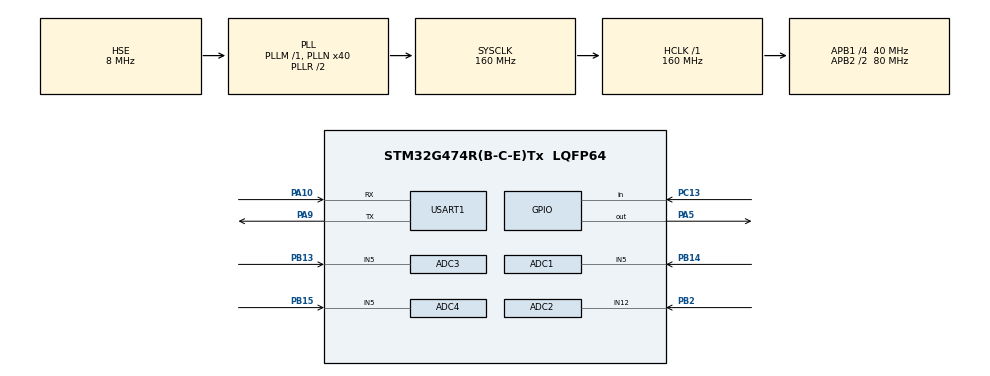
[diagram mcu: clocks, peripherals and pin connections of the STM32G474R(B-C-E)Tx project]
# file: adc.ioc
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ADC1.Channel-1\#ChannelRegularConversion=ADC_CHANNEL_5
ADC1.ClockPrescaler=ADC_CLOCK_ASYNC_DIV4
ADC1.ContinuousConvMode=DISABLE
ADC1.DMAContinuousRequests=ENABLE
ADC1.EOCSelection=ADC_EOC_SINGLE_CONV
ADC1.ExternalTrigConv=ADC_EXTERNALTRIG_T20_TRGO
ADC1.NbrOfConversionFlag=1
ADC1.OffsetNumber-1\#ChannelRegularConversion=ADC_OFFSET_NONE
ADC1.Rank-1\#ChannelRegularConversion=1
ADC1.SamplingTime-1\#ChannelRegularConversion=ADC_SAMPLETIME_2CYCLES_5
ADC1.master=1
ADC2.Channel-1\#ChannelRegularConversion=ADC_CHANNEL_12
ADC2.ClockPrescaler=ADC_CLOCK_ASYNC_DIV4
ADC2.DMAContinuousRequests=ENABLE
ADC2.ExternalTrigConv=ADC_EXTERNALTRIG_T20_TRGO
ADC2.NbrOfConversionFlag=1
ADC2.OffsetNumber-1\#ChannelRegularConversion=ADC_OFFSET_NONE
ADC2.Rank-1\#ChannelRegularConversion=1
ADC2.SamplingTime-1\#ChannelRegularConversion=ADC_SAMPLETIME_2CYCLES_5
ADC3.Channel-0\#ChannelRegularConversion=ADC_CHANNEL_5
ADC3.ClockPrescaler=ADC_CLOCK_ASYNC_DIV4
ADC3.DMAContinuousRequests=ENABLE
ADC3.ExternalTrigConv=ADC_EXTERNALTRIG_T20_TRGO
ADC3.NbrOfConversionFlag=1
ADC3.OffsetNumber-0\#ChannelRegularConversion=ADC_OFFSET_NONE
ADC3.Rank-0\#ChannelRegularConversion=1
ADC3.SamplingTime-0\#ChannelRegularConversion=ADC_SAMPLETIME_2CYCLES_5
ADC3.master=1
ADC4.Channel-0\#ChannelRegularConversion=ADC_CHANNEL_5
ADC4.ClockPrescaler=ADC_CLOCK_ASYNC_DIV4
ADC4.DMAContinuousRequests=ENABLE
ADC4.ExternalTrigConv=ADC_EXTERNALTRIG_T20_TRGO
ADC4.NbrOfConversionFlag=1
ADC4.OffsetNumber-0\#ChannelRegularConversion=ADC_OFFSET_NONE
ADC4.Rank-0\#ChannelRegularConversion=1
ADC4.SamplingTime-0\#ChannelRegularConversion=ADC_SAMPLETIME_2CYCLES_5
Dma.ADC1.0.Direction=DMA_PERIPH_TO_MEMORY
Dma.ADC1.0.EventEnable=DISABLE
Dma.ADC1.0.Instance=DMA1_Channel1
Dma.ADC1.0.MemDataAlignment=DMA_MDATAALIGN_HALFWORD
Dma.ADC1.0.MemInc=DMA_MINC_ENABLE
Dma.ADC1.0.Mode=DMA_CIRCULAR
Dma.ADC1.0.PeriphDataAlignment=DMA_PDATAALIGN_HALFWORD
Dma.ADC1.0.PeriphInc=DMA_PINC_DISABLE
Dma.ADC1.0.Polarity=HAL_DMAMUX_REQ_GEN_RISING
Dma.ADC1.0.Priority=DMA_PRIORITY_HIGH
Dma.ADC1.0.RequestNumber=1
Dma.ADC1.0.SignalID=NONE
Dma.ADC1.0.SyncEnable=DISABLE
Dma.ADC1.0.SyncPolarity=HAL_DMAMUX_SYNC_NO_EVENT
Dma.ADC1.0.SyncRequestNumber=1
Dma.ADC1.0.SyncSignalID=NONE
Dma.ADC2.1.Direction=DMA_PERIPH_TO_MEMORY
Dma.ADC2.1.EventEnable=DISABLE
Dma.ADC2.1.Instance=DMA1_Channel2
Dma.ADC2.1.MemDataAlignment=DMA_MDATAALIGN_HALFWORD
Dma.ADC2.1.MemInc=DMA_MINC_ENABLE
Dma.ADC2.1.Mode=DMA_CIRCULAR
Dma.ADC2.1.PeriphDataAlignment=DMA_PDATAALIGN_HALFWORD
Dma.ADC2.1.PeriphInc=DMA_PINC_DISABLE
Dma.ADC2.1.Polarity=HAL_DMAMUX_REQ_GEN_RISING
Dma.ADC2.1.Priority=DMA_PRIORITY_HIGH
Dma.ADC2.1.RequestNumber=1
Dma.ADC2.1.SignalID=NONE
Dma.ADC2.1.SyncEnable=DISABLE
Dma.ADC2.1.SyncPolarity=HAL_DMAMUX_SYNC_NO_EVENT
Dma.ADC2.1.SyncRequestNumber=1
Dma.ADC2.1.SyncSignalID=NONE
Dma.ADC3.2.Direction=DMA_PERIPH_TO_MEMORY
Dma.ADC3.2.EventEnable=DISABLE
Dma.ADC3.2.Instance=DMA1_Channel3
Dma.ADC3.2.MemDataAlignment=DMA_MDATAALIGN_HALFWORD
Dma.ADC3.2.MemInc=DMA_MINC_ENABLE
Dma.ADC3.2.Mode=DMA_CIRCULAR
Dma.ADC3.2.PeriphDataAlignment=DMA_PDATAALIGN_HALFWORD
Dma.ADC3.2.PeriphInc=DMA_PINC_DISABLE
Dma.ADC3.2.Polarity=HAL_DMAMUX_REQ_GEN_RISING
Dma.ADC3.2.Priority=DMA_PRIORITY_HIGH
Dma.ADC3.2.RequestNumber=1
Dma.ADC3.2.SignalID=NONE
Dma.ADC3.2.SyncEnable=DISABLE
Dma.ADC3.2.SyncPolarity=HAL_DMAMUX_SYNC_NO_EVENT
Dma.ADC3.2.SyncRequestNumber=1
Dma.ADC3.2.SyncSignalID=NONE
Dma.ADC4.3.Direction=DMA_PERIPH_TO_MEMORY
Dma.ADC4.3.EventEnable=DISABLE
Dma.ADC4.3.Instance=DMA1_Channel4
Dma.ADC4.3.MemDataAlignment=DMA_MDATAALIGN_HALFWORD
Dma.ADC4.3.MemInc=DMA_MINC_ENABLE
Dma.ADC4.3.Mode=DMA_CIRCULAR
Dma.ADC4.3.PeriphDataAlignment=DMA_PDATAALIGN_HALFWORD
Dma.ADC4.3.PeriphInc=DMA_PINC_DISABLE
Dma.ADC4.3.Polarity=HAL_DMAMUX_REQ_GEN_RISING
Dma.ADC4.3.Priority=DMA_PRIORITY_HIGH
Dma.ADC4.3.RequestNumber=1
Dma.ADC4.3.SignalID=NONE
Dma.ADC4.3.SyncEnable=DISABLE
Dma.ADC4.3.SyncPolarity=HAL_DMAMUX_SYNC_NO_EVENT
Dma.ADC4.3.SyncRequestNumber=1
Dma.ADC4.3.SyncSignalID=NONE
Dma.Request0=ADC1
Dma.Request1=ADC2
Dma.Request2=ADC3
Dma.Request3=ADC4
Dma.Request4=USART1_RX
Dma.Request5=USART1_TX
Dma.USART1_RX.4.Direction=DMA_PERIPH_TO_MEMORY
Dma.USART1_RX.4.EventEnable=DISABLE
Dma.USART1_RX.4.Instance=DMA1_Channel5
Dma.USART1_RX.4.MemDataAlignment=DMA_MDATAALIGN_BYTE
Dma.USART1_RX.4.MemInc=DMA_MINC_ENABLE
Dma.USART1_RX.4.Mode=DMA_CIRCULAR
Dma.USART1_RX.4.PeriphDataAlignment=DMA_PDATAALIGN_BYTE
Dma.USART1_RX.4.PeriphInc=DMA_PINC_DISABLE
Dma.USART1_RX.4.Polarity=HAL_DMAMUX_REQ_GEN_RISING
Dma.USART1_RX.4.Priority=DMA_PRIORITY_HIGH
Dma.USART1_RX.4.RequestNumber=1
Dma.USART1_RX.4.SignalID=NONE
Dma.USART1_RX.4.SyncEnable=DISABLE
Dma.USART1_RX.4.SyncPolarity=HAL_DMAMUX_SYNC_NO_EVENT
Dma.USART1_RX.4.SyncRequestNumber=1
Dma.USART1_RX.4.SyncSignalID=NONE
Dma.USART1_TX.5.Direction=DMA_MEMORY_TO_PERIPH
Dma.USART1_TX.5.EventEnable=DISABLE
Dma.USART1_TX.5.Instance=DMA1_Channel6
Dma.USART1_TX.5.MemDataAlignment=DMA_MDATAALIGN_BYTE
Dma.USART1_TX.5.MemInc=DMA_MINC_ENABLE
Dma.USART1_TX.5.Mode=DMA_CIRCULAR
Dma.USART1_TX.5.PeriphDataAlignment=DMA_PDATAALIGN_BYTE
Dma.USART1_TX.5.PeriphInc=DMA_PINC_DISABLE
Dma.USART1_TX.5.Polarity=HAL_DMAMUX_REQ_GEN_RISING
Dma.USART1_TX.5.Priority=DMA_PRIORITY_HIGH
Dma.USART1_TX.5.RequestNumber=1
Dma.USART1_TX.5.SignalID=NONE
Dma.USART1_TX.5.SyncEnable=DISABLE
Dma.USART1_TX.5.SyncPolarity=HAL_DMAMUX_SYNC_NO_EVENT
Dma.USART1_TX.5.SyncRequestNumber=1
Dma.USART1_TX.5.SyncSignalID=NONE
Mcu.Family=STM32G4
Mcu.Name=STM32G474R(B-C-E)Tx
Mcu.Package=LQFP64
NVIC.DMA1_Channel1_IRQn=true\:0\:0\:false\:false\:true\:false\:true
NVIC.DMA1_Channel2_IRQn=true\:0\:0\:false\:false\:true\:false\:true
NVIC.DMA1_Channel3_IRQn=true\:0\:0\:false\:false\:true\:false\:true
NVIC.DMA1_Channel4_IRQn=true\:0\:0\:false\:false\:true\:false\:true
NVIC.DMA1_Channel5_IRQn=true\:0\:0\:false\:false\:true\:false\:true
NVIC.DMA1_Channel6_IRQn=true\:0\:0\:false\:false\:true\:false\:true
NVIC.PriorityGroup=NVIC_PRIORITYGROUP_4
NVIC.USART1_IRQn=true\:0\:0\:false\:false\:true\:true\:true
PA10.GPIO_PuPd=GPIO_NOPULL
PA10.GPIO_Speed=GPIO_SPEED_FREQ_HIGH
PA10.Mode=Asynchronous
PA10.Signal=USART1_RX
PA13.Mode=Serial_Wire
PA13.Signal=SYS_JTMS-SWDIO
PA14.Mode=Serial_Wire
PA14.Signal=SYS_JTCK-SWCLK
PA5.Signal=GPIO_Output
PA9.GPIO_ModeDefaultOD=GPIO_MODE_AF_OD
PA9.GPIO_PuPd=GPIO_PULLUP
PA9.GPIO_Speed=GPIO_SPEED_FREQ_HIGH
PA9.Mode=Asynchronous
PA9.Signal=USART1_TX
PB13.Mode=IN5-Single-Ended
PB13.Signal=ADC3_IN5
PB14.Mode=IN5-Single-Ended
PB14.Signal=ADC1_IN5
PB15.Mode=IN5-Single-Ended
PB15.Signal=ADC4_IN5
PB2.Mode=IN12-Single-Ended
PB2.Signal=ADC2_IN12
PC13.Signal=GPIO_Input
PF0-OSC_IN.Mode=HSE-External-Oscillator
PF0-OSC_IN.Signal=RCC_OSC_IN
PF1-OSC_OUT.Mode=HSE-External-Oscillator
PF1-OSC_OUT.Signal=RCC_OSC_OUT
ProjectManager.HeapSize=0x200
ProjectManager.StackSize=0x400
ProjectManager.TargetToolchain=MDK-ARM V5
RCC.ADC12Freq_Value=160000000
RCC.ADC345Freq_Value=160000000
RCC.AHBFreq_Value=160000000
RCC.APB1CLKDivider=RCC_HCLK_DIV4
RCC.APB1Freq_Value=40000000
RCC.APB1TimFreq_Value=80000000
RCC.APB2CLKDivider=RCC_HCLK_DIV2
RCC.APB2Freq_Value=80000000
RCC.APB2TimFreq_Value=160000000
RCC.CortexFreq_Value=160000000
RCC.EXTERNAL_CLOCK_VALUE=12288000
RCC.HCLKFreq_Value=160000000
RCC.HSE_VALUE=8000000
RCC.HSI48_VALUE=48000000
RCC.HSI_VALUE=16000000
RCC.LSE_VALUE=32768
RCC.PLLN=40
RCC.PLLSourceVirtual=RCC_PLLSOURCE_HSE
RCC.SYSCLKFreq_VALUE=160000000
RCC.SYSCLKSource=RCC_SYSCLKSOURCE_PLLCLK
RCC.USBFreq_Value=160000000
RCC.VCOOutputFreq_Value=320000000
TIM20.AutoReloadPreload=TIM_AUTORELOAD_PRELOAD_ENABLE
TIM20.PeriodNoDither=9
TIM20.Prescaler=24
TIM20.TIM_MasterOutputTrigger=TIM_TRGO_UPDATE
USART1.VirtualMode-Asynchronous=VM_ASYNC
USART1.WordLength=WORDLENGTH_8B
VP_SYS_VS_DBSignals.Mode=DisableDeadBatterySignals
VP_TIM20_VS_ClockSourceINT.Mode=Internal
board=custom

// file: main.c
/* USER CODE BEGIN Header */
/**
  ******************************************************************************
  * @file           : main.c
  * @brief          : Main program body
  ******************************************************************************
  * @attention
  *
  * <h2><center>&copy; Copyright (c) 2020 STMicroelectronics.
  * All rights reserved.</center></h2>
  *
  * This software component is licensed by ST under BSD 3-Clause license,
  * the "License"; You may not use this file except in compliance with the
  * License. You may obtain a copy of the License at:
  *                        opensource.org/licenses/BSD-3-Clause
  *
  ******************************************************************************
  */
/* USER CODE END Header */

#include "main.h"

/* USER CODE BEGIN Includes */
#include "stdio.h"
#include "stm32g4xx_hal_dma.h"
#include "stm32g4xx_hal_uart.h"
/* USER CODE END Includes */

ADC_HandleTypeDef hadc1;
ADC_HandleTypeDef hadc2;
ADC_HandleTypeDef hadc3;
ADC_HandleTypeDef hadc4;
DMA_HandleTypeDef hdma_adc1;
DMA_HandleTypeDef hdma_adc2;
DMA_HandleTypeDef hdma_adc3;
DMA_HandleTypeDef hdma_adc4;

TIM_HandleTypeDef htim20;

UART_HandleTypeDef huart1;
DMA_HandleTypeDef hdma_usart1_rx;
DMA_HandleTypeDef hdma_usart1_tx;

/* USER CODE BEGIN PV */
#ifdef __GNUC__
  #define PUTCHAR_PROTOTYPE int __io_putchar(int ch)
#else
  #define PUTCHAR_PROTOTYPE int fputc(int ch, FILE *f)
#endif

	int fputc(int ch,FILE *f)
{
	HAL_UART_Transmit(&huart1,(uint8_t *)&ch,1,0xFFFF);

	return ch;
}
/* USER CODE END PV */

void SystemClock_Config(void);
static void MX_GPIO_Init(void);
static void MX_DMA_Init(void);
static void MX_ADC1_Init(void);
static void MX_ADC2_Init(void);
static void MX_ADC3_Init(void);
static void MX_ADC4_Init(void);
static void MX_USART1_UART_Init(void);
static void MX_TIM20_Init(void);

/* USER CODE BEGIN 0 */
uint16_t ADC1_ConvertedValue[768];
uint16_t ADC2_ConvertedValue[768];
uint16_t ADC3_ConvertedValue[768];
uint16_t ADC4_ConvertedValue[768];
/* USER CODE END 0 */

int main(void)
{

  /* MCU Configuration--------------------------------------------------------*/

  /* Reset of all peripherals, Initializes the Flash interface and the Systick. */
  HAL_Init();

  /* Configure the system clock */
  SystemClock_Config();

  /* Initialize all configured peripherals */
  MX_GPIO_Init();
  MX_DMA_Init();
  MX_ADC1_Init();
  MX_ADC2_Init();
  MX_ADC3_Init();
  MX_ADC4_Init();
  MX_USART1_UART_Init();
  MX_TIM20_Init();
  /* USER CODE BEGIN 2 */
	int key;
	int i=0;
	for(i=0;i<768;i++)
	{
		ADC1_ConvertedValue[i]=0;
		ADC2_ConvertedValue[i]=0;
		ADC3_ConvertedValue[i]=0;
		ADC4_ConvertedValue[i]=0;
	}
	HAL_TIM_Base_Start_IT(&htim20);

  /* USER CODE END 2 */

  /* Infinite loop */
  while (1)
  {
		key=HAL_GPIO_ReadPin(GPIOC,GPIO_PIN_13);
		while(key)
		{
		HAL_GPIO_TogglePin(GPIOA,GPIO_PIN_5);

		HAL_ADC_Start_DMA(&hadc1, (uint32_t*)ADC1_ConvertedValue, 768);
		HAL_ADC_Start_DMA(&hadc2, (uint32_t*)ADC2_ConvertedValue, 768);
		HAL_ADC_Start_DMA(&hadc3, (uint32_t*)ADC3_ConvertedValue, 768);
		HAL_ADC_Start_DMA(&hadc4, (uint32_t*)ADC4_ConvertedValue, 768);

		////////检测传输标志
		while(__HAL_DMA_GET_FLAG(&hdma_adc1, DMA_FLAG_TC1)==0);
		while(__HAL_DMA_GET_FLAG(&hdma_adc2, DMA_FLAG_TC2)==0);
		while(__HAL_DMA_GET_FLAG(&hdma_adc3, DMA_FLAG_TC3)==0);
		while(__HAL_DMA_GET_FLAG(&hdma_adc4, DMA_FLAG_TC4)==0);

		////////关闭DMA
		HAL_ADC_Stop_DMA(&hadc1);
		HAL_ADC_Stop_DMA(&hadc2);
		HAL_ADC_Stop_DMA(&hadc3);
		HAL_ADC_Stop_DMA(&hadc4);

		//////清除标志位
		__HAL_DMA_CLEAR_FLAG(&hdma_adc1, DMA_FLAG_TC1);
		__HAL_DMA_CLEAR_FLAG(&hdma_adc2, DMA_FLAG_TC2);
		__HAL_DMA_CLEAR_FLAG(&hdma_adc3, DMA_FLAG_TC3);
		__HAL_DMA_CLEAR_FLAG(&hdma_adc4, DMA_FLAG_TC4);

		/////////传输////////////
			fputc(0xAA,stdout);
			fputc(0xAA,stdout);
				for(int j=0;j<768;j=j+6)//打印数组，即128个采样点
				{
					fputc(ADC1_ConvertedValue[j]>>8,stdout);//清空寄存器
					fputc(ADC1_ConvertedValue[j],stdout);//清空寄存器
				}
				for(int j=0;j<768;j=j+6)//打印数组，即128个采样点
				{
					fputc(ADC2_ConvertedValue[j]>>8,stdout);//清空寄存器
					fputc(ADC2_ConvertedValue[j],stdout);//清空寄存器
				}
				for(int j=0;j<768;j=j+6)//打印数组，即128个采样点
				{
					fputc(ADC3_ConvertedValue[j]>>8,stdout);//清空寄存器
					fputc(ADC3_ConvertedValue[j],stdout);//清空寄存器
				}

				for(int j=0;j<768;j=j+6)//打印数组，即128个采样点
				{
					fputc(ADC4_ConvertedValue[j]>>8,stdout);//清空寄存器
					fputc(ADC4_ConvertedValue[j],stdout);//清空寄存器
				}
				fputc(0x55,stdout);
				fputc(0x55,stdout);
			}
  }
}

void SystemClock_Config(void)
{
  RCC_OscInitTypeDef RCC_OscInitStruct = {0};
  RCC_ClkInitTypeDef RCC_ClkInitStruct = {0};
  RCC_PeriphCLKInitTypeDef PeriphClkInit = {0};

  /** Configure the main internal regulator output voltage
  */
  HAL_PWREx_ControlVoltageScaling(PWR_REGULATOR_VOLTAGE_SCALE1_BOOST);
  /** Initializes the CPU, AHB and APB busses clocks
  */
  RCC_OscInitStruct.OscillatorType = RCC_OSCILLATORTYPE_HSE;
  RCC_OscInitStruct.HSEState = RCC_HSE_ON;
  RCC_OscInitStruct.PLL.PLLState = RCC_PLL_ON;
  RCC_OscInitStruct.PLL.PLLSource = RCC_PLLSOURCE_HSE;
  RCC_OscInitStruct.PLL.PLLM = RCC_PLLM_DIV1;
  RCC_OscInitStruct.PLL.PLLN = 40;
  RCC_OscInitStruct.PLL.PLLP = RCC_PLLP_DIV2;
  RCC_OscInitStruct.PLL.PLLQ = RCC_PLLQ_DIV2;
  RCC_OscInitStruct.PLL.PLLR = RCC_PLLR_DIV2;
  if (HAL_RCC_OscConfig(&RCC_OscInitStruct) != HAL_OK)
  {
    Error_Handler();
  }
  /** Initializes the CPU, AHB and APB busses clocks
  */
  RCC_ClkInitStruct.ClockType = RCC_CLOCKTYPE_HCLK|RCC_CLOCKTYPE_SYSCLK
                              |RCC_CLOCKTYPE_PCLK1|RCC_CLOCKTYPE_PCLK2;
  RCC_ClkInitStruct.SYSCLKSource = RCC_SYSCLKSOURCE_PLLCLK;
  RCC_ClkInitStruct.AHBCLKDivider = RCC_SYSCLK_DIV1;
  RCC_ClkInitStruct.APB1CLKDivider = RCC_HCLK_DIV4;
  RCC_ClkInitStruct.APB2CLKDivider = RCC_HCLK_DIV2;

  if (HAL_RCC_ClockConfig(&RCC_ClkInitStruct, FLASH_LATENCY_7) != HAL_OK)
  {
    Error_Handler();
  }
  /** Initializes the peripherals clocks
  */
  PeriphClkInit.PeriphClockSelection = RCC_PERIPHCLK_USART1|RCC_PERIPHCLK_ADC12
                              |RCC_PERIPHCLK_ADC345;
  PeriphClkInit.Usart1ClockSelection = RCC_USART1CLKSOURCE_PCLK2;
  PeriphClkInit.Adc12ClockSelection = RCC_ADC12CLKSOURCE_SYSCLK;
  PeriphClkInit.Adc345ClockSelection = RCC_ADC345CLKSOURCE_SYSCLK;
  if (HAL_RCCEx_PeriphCLKConfig(&PeriphClkInit) != HAL_OK)
  {
    Error_Handler();
  }
}

static void MX_ADC1_Init(void)
{

  ADC_MultiModeTypeDef multimode = {0};
  ADC_ChannelConfTypeDef sConfig = {0};

  /** Common config
  */
  hadc1.Instance = ADC1;
  hadc1.Init.ClockPrescaler = ADC_CLOCK_ASYNC_DIV4;
  hadc1.Init.Resolution = ADC_RESOLUTION_12B;
  hadc1.Init.DataAlign = ADC_DATAALIGN_RIGHT;
  hadc1.Init.GainCompensation = 0;
  hadc1.Init.ScanConvMode = ADC_SCAN_DISABLE;
  hadc1.Init.EOCSelection = ADC_EOC_SINGLE_CONV;
  hadc1.Init.LowPowerAutoWait = DISABLE;
  hadc1.Init.ContinuousConvMode = DISABLE;
  hadc1.Init.NbrOfConversion = 1;
  hadc1.Init.DiscontinuousConvMode = DISABLE;
  hadc1.Init.ExternalTrigConv = ADC_EXTERNALTRIG_T20_TRGO;
  hadc1.Init.ExternalTrigConvEdge = ADC_EXTERNALTRIGCONVEDGE_RISING;
  hadc1.Init.DMAContinuousRequests = ENABLE;
  hadc1.Init.Overrun = ADC_OVR_DATA_PRESERVED;
  hadc1.Init.OversamplingMode = DISABLE;
  if (HAL_ADC_Init(&hadc1) != HAL_OK)
  {
    Error_Handler();
  }
  /** Configure the ADC multi-mode
  */
  multimode.Mode = ADC_MODE_INDEPENDENT;
  if (HAL_ADCEx_MultiModeConfigChannel(&hadc1, &multimode) != HAL_OK)
  {
    Error_Handler();
  }
  /** Configure Regular Channel
  */
  sConfig.Channel = ADC_CHANNEL_5;
  sConfig.Rank = ADC_REGULAR_RANK_1;
  sConfig.SamplingTime = ADC_SAMPLETIME_2CYCLES_5;
  sConfig.SingleDiff = ADC_SINGLE_ENDED;
  sConfig.OffsetNumber = ADC_OFFSET_NONE;
  sConfig.Offset = 0;
  if (HAL_ADC_ConfigChannel(&hadc1, &sConfig) != HAL_OK)
  {
    Error_Handler();
  }

}

static void MX_ADC2_Init(void)
{

  ADC_ChannelConfTypeDef sConfig = {0};

  /** Common config
  */
  hadc2.Instance = ADC2;
  hadc2.Init.ClockPrescaler = ADC_CLOCK_ASYNC_DIV4;
  hadc2.Init.Resolution = ADC_RESOLUTION_12B;
  hadc2.Init.DataAlign = ADC_DATAALIGN_RIGHT;
  hadc2.Init.GainCompensation = 0;
  hadc2.Init.ScanConvMode = ADC_SCAN_DISABLE;
  hadc2.Init.EOCSelection = ADC_EOC_SINGLE_CONV;
  hadc2.Init.LowPowerAutoWait = DISABLE;
  hadc2.Init.ContinuousConvMode = DISABLE;
  hadc2.Init.NbrOfConversion = 1;
  hadc2.Init.DiscontinuousConvMode = DISABLE;
  hadc2.Init.ExternalTrigConv = ADC_EXTERNALTRIG_T20_TRGO;
  hadc2.Init.ExternalTrigConvEdge = ADC_EXTERNALTRIGCONVEDGE_RISING;
  hadc2.Init.DMAContinuousRequests = ENABLE;
  hadc2.Init.Overrun = ADC_OVR_DATA_PRESERVED;
  hadc2.Init.OversamplingMode = DISABLE;
  if (HAL_ADC_Init(&hadc2) != HAL_OK)
  {
    Error_Handler();
  }
  /** Configure Regular Channel
  */
  sConfig.Channel = ADC_CHANNEL_12;
  sConfig.Rank = ADC_REGULAR_RANK_1;
  sConfig.SamplingTime = ADC_SAMPLETIME_2CYCLES_5;
  sConfig.SingleDiff = ADC_SINGLE_ENDED;
  sConfig.OffsetNumber = ADC_OFFSET_NONE;
  sConfig.Offset = 0;
  if (HAL_ADC_ConfigChannel(&hadc2, &sConfig) != HAL_OK)
  {
    Error_Handler();
  }

}

static void MX_ADC3_Init(void)
{

  ADC_MultiModeTypeDef multimode = {0};
  ADC_ChannelConfTypeDef sConfig = {0};

  /** Common config
  */
  hadc3.Instance = ADC3;
  hadc3.Init.ClockPrescaler = ADC_CLOCK_ASYNC_DIV4;
  hadc3.Init.Resolution = ADC_RESOLUTION_12B;
  hadc3.Init.DataAlign = ADC_DATAALIGN_RIGHT;
  hadc3.Init.GainCompensation = 0;
  hadc3.Init.ScanConvMode = ADC_SCAN_DISABLE;
  hadc3.Init.EOCSelection = ADC_EOC_SINGLE_CONV;
  hadc3.Init.LowPowerAutoWait = DISABLE;
  hadc3.Init.ContinuousConvMode = DISABLE;
  hadc3.Init.NbrOfConversion = 1;
  hadc3.Init.DiscontinuousConvMode = DISABLE;
  hadc3.Init.ExternalTrigConv = ADC_EXTERNALTRIG_T20_TRGO;
  hadc3.Init.ExternalTrigConvEdge = ADC_EXTERNALTRIGCONVEDGE_RISING;
  hadc3.Init.DMAContinuousRequests = ENABLE;
  hadc3.Init.Overrun = ADC_OVR_DATA_PRESERVED;
  hadc3.Init.OversamplingMode = DISABLE;
  if (HAL_ADC_Init(&hadc3) != HAL_OK)
  {
    Error_Handler();
  }
  /** Configure the ADC multi-mode
  */
  multimode.Mode = ADC_MODE_INDEPENDENT;
  if (HAL_ADCEx_MultiModeConfigChannel(&hadc3, &multimode) != HAL_OK)
  {
    Error_Handler();
  }
  /** Configure Regular Channel
  */
  sConfig.Channel = ADC_CHANNEL_5;
  sConfig.Rank = ADC_REGULAR_RANK_1;
  sConfig.SamplingTime = ADC_SAMPLETIME_2CYCLES_5;
  sConfig.SingleDiff = ADC_SINGLE_ENDED;
  sConfig.OffsetNumber = ADC_OFFSET_NONE;
  sConfig.Offset = 0;
  if (HAL_ADC_ConfigChannel(&hadc3, &sConfig) != HAL_OK)
  {
    Error_Handler();
  }

}

static void MX_ADC4_Init(void)
{

  ADC_ChannelConfTypeDef sConfig = {0};

  /** Common config
  */
  hadc4.Instance = ADC4;
  hadc4.Init.ClockPrescaler = ADC_CLOCK_ASYNC_DIV4;
  hadc4.Init.Resolution = ADC_RESOLUTION_12B;
  hadc4.Init.DataAlign = ADC_DATAALIGN_RIGHT;
  hadc4.Init.GainCompensation = 0;
  hadc4.Init.ScanConvMode = ADC_SCAN_DISABLE;
  hadc4.Init.EOCSelection = ADC_EOC_SINGLE_CONV;
  hadc4.Init.LowPowerAutoWait = DISABLE;
  hadc4.Init.ContinuousConvMode = DISABLE;
  hadc4.Init.NbrOfConversion = 1;
  hadc4.Init.DiscontinuousConvMode = DISABLE;
  hadc4.Init.ExternalTrigConv = ADC_EXTERNALTRIG_T20_TRGO;
  hadc4.Init.ExternalTrigConvEdge = ADC_EXTERNALTRIGCONVEDGE_RISING;
  hadc4.Init.DMAContinuousRequests = ENABLE;
  hadc4.Init.Overrun = ADC_OVR_DATA_PRESERVED;
  hadc4.Init.OversamplingMode = DISABLE;
  if (HAL_ADC_Init(&hadc4) != HAL_OK)
  {
    Error_Handler();
  }
  /** Configure Regular Channel
  */
  sConfig.Channel = ADC_CHANNEL_5;
  sConfig.Rank = ADC_REGULAR_RANK_1;
  sConfig.SamplingTime = ADC_SAMPLETIME_2CYCLES_5;
  sConfig.SingleDiff = ADC_SINGLE_ENDED;
  sConfig.OffsetNumber = ADC_OFFSET_NONE;
  sConfig.Offset = 0;
  if (HAL_ADC_ConfigChannel(&hadc4, &sConfig) != HAL_OK)
  {
    Error_Handler();
  }

}

static void MX_TIM20_Init(void)
{

  TIM_ClockConfigTypeDef sClockSourceConfig = {0};
  TIM_MasterConfigTypeDef sMasterConfig = {0};
  TIM_BreakDeadTimeConfigTypeDef sBreakDeadTimeConfig = {0};

  htim20.Instance = TIM20;
  htim20.Init.Prescaler = 24;
  htim20.Init.CounterMode = TIM_COUNTERMODE_UP;
  htim20.Init.Period = 9;
  htim20.Init.ClockDivision = TIM_CLOCKDIVISION_DIV1;
  htim20.Init.RepetitionCounter = 0;
  htim20.Init.AutoReloadPreload = TIM_AUTORELOAD_PRELOAD_ENABLE;
  if (HAL_TIM_Base_Init(&htim20) != HAL_OK)
  {
    Error_Handler();
  }
  sClockSourceConfig.ClockSource = TIM_CLOCKSOURCE_INTERNAL;
  if (HAL_TIM_ConfigClockSource(&htim20, &sClockSourceConfig) != HAL_OK)
  {
    Error_Handler();
  }
  sMasterConfig.MasterOutputTrigger = TIM_TRGO_UPDATE;
  sMasterConfig.MasterOutputTrigger2 = TIM_TRGO2_RESET;
  sMasterConfig.MasterSlaveMode = TIM_MASTERSLAVEMODE_DISABLE;
  if (HAL_TIMEx_MasterConfigSynchronization(&htim20, &sMasterConfig) != HAL_OK)
  {
    Error_Handler();
  }
  sBreakDeadTimeConfig.BreakAFMode = TIM_BREAK_AFMODE_INPUT;
  sBreakDeadTimeConfig.Break2AFMode = TIM_BREAK_AFMODE_INPUT;
  if (HAL_TIMEx_ConfigBreakDeadTime(&htim20, &sBreakDeadTimeConfig) != HAL_OK)
  {
    Error_Handler();
  }

}

static void MX_USART1_UART_Init(void)
{

  huart1.Instance = USART1;
  huart1.Init.BaudRate = 115200;
  huart1.Init.WordLength = UART_WORDLENGTH_8B;
  huart1.Init.StopBits = UART_STOPBITS_1;
  huart1.Init.Parity = UART_PARITY_NONE;
  huart1.Init.Mode = UART_MODE_TX_RX;
  huart1.Init.HwFlowCtl = UART_HWCONTROL_NONE;
  huart1.Init.OverSampling = UART_OVERSAMPLING_16;
  huart1.Init.OneBitSampling = UART_ONE_BIT_SAMPLE_DISABLE;
  huart1.Init.ClockPrescaler = UART_PRESCALER_DIV1;
  huart1.AdvancedInit.AdvFeatureInit = UART_ADVFEATURE_NO_INIT;
  if (HAL_UART_Init(&huart1) != HAL_OK)
  {
    Error_Handler();
  }
  if (HAL_UARTEx_SetTxFifoThreshold(&huart1, UART_TXFIFO_THRESHOLD_1_8) != HAL_OK)
  {
    Error_Handler();
  }
  if (HAL_UARTEx_SetRxFifoThreshold(&huart1, UART_RXFIFO_THRESHOLD_1_8) != HAL_OK)
  {
    Error_Handler();
  }
  if (HAL_UARTEx_DisableFifoMode(&huart1) != HAL_OK)
  {
    Error_Handler();
  }

}

static void MX_DMA_Init(void)
{

  /* DMA controller clock enable */
  __HAL_RCC_DMAMUX1_CLK_ENABLE();
  __HAL_RCC_DMA1_CLK_ENABLE();

//  /* DMA interrupt init */
//  /* DMA1_Channel1_IRQn interrupt configuration */
//  HAL_NVIC_SetPriority(DMA1_Channel1_IRQn, 0, 0);
//  HAL_NVIC_EnableIRQ(DMA1_Channel1_IRQn);
//  /* DMA1_Channel2_IRQn interrupt configuration */
//  HAL_NVIC_SetPriority(DMA1_Channel2_IRQn, 0, 0);
//  HAL_NVIC_EnableIRQ(DMA1_Channel2_IRQn);
//  /* DMA1_Channel3_IRQn interrupt configuration */
//  HAL_NVIC_SetPriority(DMA1_Channel3_IRQn, 0, 0);
//  HAL_NVIC_EnableIRQ(DMA1_Channel3_IRQn);
//  /* DMA1_Channel4_IRQn interrupt configuration */
//  HAL_NVIC_SetPriority(DMA1_Channel4_IRQn, 0, 0);
//  HAL_NVIC_EnableIRQ(DMA1_Channel4_IRQn);
//  /* DMA1_Channel5_IRQn interrupt configuration */
//  HAL_NVIC_SetPriority(DMA1_Channel5_IRQn, 0, 0);
//  HAL_NVIC_EnableIRQ(DMA1_Channel5_IRQn);
//  /* DMA1_Channel6_IRQn interrupt configuration */
//  HAL_NVIC_SetPriority(DMA1_Channel6_IRQn, 0, 0);
//  HAL_NVIC_EnableIRQ(DMA1_Channel6_IRQn);

}

static void MX_GPIO_Init(void)
{
  GPIO_InitTypeDef GPIO_InitStruct = {0};

  /* GPIO Ports Clock Enable */
  __HAL_RCC_GPIOC_CLK_ENABLE();
  __HAL_RCC_GPIOF_CLK_ENABLE();
  __HAL_RCC_GPIOA_CLK_ENABLE();
  __HAL_RCC_GPIOB_CLK_ENABLE();

  /*Configure GPIO pin Output Level */
  HAL_GPIO_WritePin(GPIOA, GPIO_PIN_5, GPIO_PIN_RESET);

  /*Configure GPIO pin : PC13 */
  GPIO_InitStruct.Pin = GPIO_PIN_13;
  GPIO_InitStruct.Mode = GPIO_MODE_INPUT;
  GPIO_InitStruct.Pull = GPIO_NOPULL;
  HAL_GPIO_Init(GPIOC, &GPIO_InitStruct);

  /*Configure GPIO pin : PA5 */
  GPIO_InitStruct.Pin = GPIO_PIN_5;
  GPIO_InitStruct.Mode = GPIO_MODE_OUTPUT_PP;
  GPIO_InitStruct.Pull = GPIO_NOPULL;
  GPIO_InitStruct.Speed = GPIO_SPEED_FREQ_LOW;
  HAL_GPIO_Init(GPIOA, &GPIO_InitStruct);

}

void Error_Handler(void)
{
}

/************************ (C) COPYRIGHT STMicroelectronics *****END OF FILE****/
